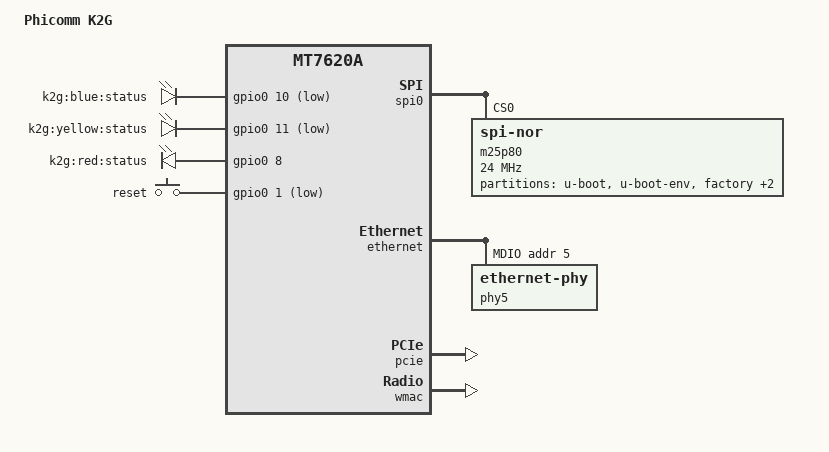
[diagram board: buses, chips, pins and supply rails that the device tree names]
/dts-v1/;

#include "mt7620a.dtsi"

#include <dt-bindings/gpio/gpio.h>
#include <dt-bindings/input/input.h>

/ {
	compatible = "phicomm,k2g", "ralink,mt7620a-soc";
	model = "Phicomm K2G";

	aliases {
		led-boot = &led_blue;
		led-failsafe = &led_blue;
		led-running = &led_blue;
		led-upgrade = &led_blue;
		serial0 = &uartlite;
	};

	gpio-leds {
		compatible = "gpio-leds";

		led_blue: blue {
			label = "k2g:blue:status";
			gpios = <&gpio0 10 GPIO_ACTIVE_LOW>;
		};

		yellow {
			label = "k2g:yellow:status";
			gpios = <&gpio0 11 GPIO_ACTIVE_LOW>;
		};

		red {
			label = "k2g:red:status";
			gpios = <&gpio0 8 GPIO_ACTIVE_HIGH>;
		};
	};

	gpio-keys-polled {
		compatible = "gpio-keys-polled";
		poll-interval = <20>;

		reset {
			label = "reset";
			gpios = <&gpio0 1 GPIO_ACTIVE_LOW>;
			linux,code = <KEY_RESTART>;
		};
	};
};

&spi0 {
	status = "okay";

	m25p80@0 {
		compatible = "jedec,spi-nor";
		reg = <0>;
		spi-max-frequency = <24000000>;

		partitions {
			compatible = "fixed-partitions";
			#address-cells = <1>;
			#size-cells = <1>;

			partition@0 {
				reg = <0x0 0x30000>;
				label = "u-boot";
				read-only;
			};

			partition@30000 {
				reg = <0x30000 0x10000>;
				label = "u-boot-env";
				read-only;
			};

			factory: partition@40000 {
				reg = <0x40000 0x10000>;
				label = "factory";
				read-only;
			};

			partition@50000 {
				reg = <0x50000 0x50000>;
				label = "permanent_config";
				read-only;
			};

			partition@a0000 {
				reg = <0xa0000 0x760000>;
				label = "firmware";
			};
		};
	};
};

&pinctrl {
	state_default: pinctrl0 {
		gpio {
			ralink,group = "i2c", "uartf";
			ralink,function = "gpio";
		};
	};
};

&ethernet {
	pinctrl-names = "default";
	pinctrl-0 = <&rgmii2_pins &mdio_pins>;
	mtd-mac-address = <&factory 0x28>;
	mediatek,portmap = "llllw";

	port@5 {
		status = "okay";
		phy-handle = <&phy5>;
		phy-mode = "rgmii";
	};

	mdio-bus {
		status = "okay";

		phy5: ethernet-phy@5 {
			reg = <5>;
			phy-mode = "rgmii";
		};
	};
};

&pcie {
	status = "okay";
};

&pcie0 {
	mt76@0,0 {
		reg = <0x0000 0 0 0 0>;
		mediatek,mtd-eeprom = <&factory 0x8000>;
		ieee80211-freq-limit = <5000000 6000000>;
	};
};

&wmac {
	ralink,mtd-eeprom = <&factory 0>;
	pinctrl-names = "default";
	pinctrl-0 = <&pa_pins>;
};
